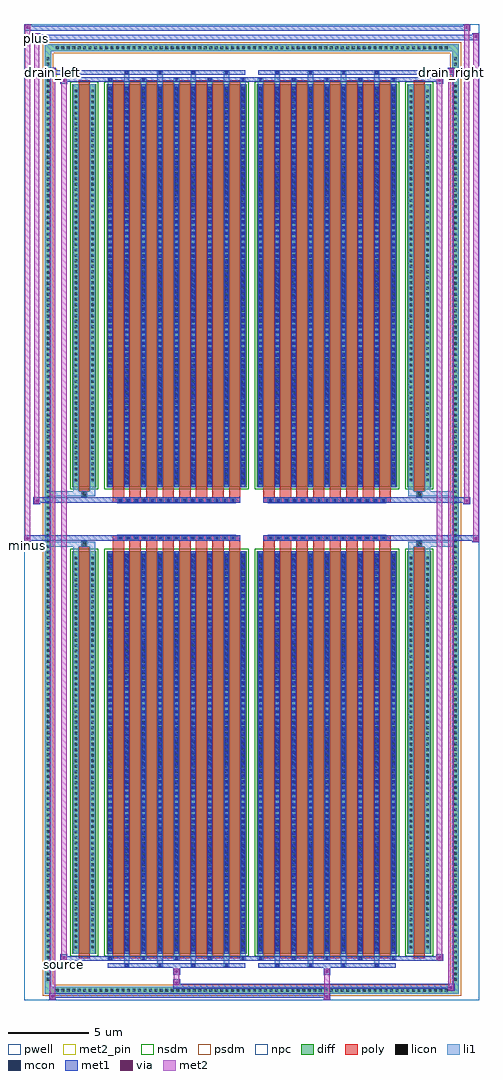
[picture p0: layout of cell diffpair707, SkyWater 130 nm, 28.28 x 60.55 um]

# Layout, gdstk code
import gdstk
lib = gdstk.Library(unit=1e-6, precision=5e-09)
def R(c, l, rs):  # rectangles x0, y0, x1, y1
    for r in rs: c.add(gdstk.rectangle(r[:2], r[2:], *l))
def A(c, l, x, y, w, h, nx, ny, dx, dy):  # array of equal rectangles
    R(c, l, [(x+i*dx, y+j*dy, x+i*dx+w, y+j*dy+h) for i in range(nx) for j in range(ny)])
def P(c, l, *ps):  # polygons
    for p in ps: c.add(gdstk.Polygon(p, *l))
pwell = (64, 44)
diff = (65, 20)
poly = (66, 20)
licon = (66, 44)
li1 = (67, 20)
mcon = (67, 44)
met1 = (68, 20)
via = (68, 44)
met2_pin = (69, 16)
met2 = (69, 20)
nsdm = (93, 44)
psdm = (94, 20)
npc = (95, 20)

diffpair707 = lib.new_cell('diffpair707')
R(diffpair707, pwell, [(-14.12,-29.84,14.12,30.71), (-11.44,-28.03,-0.01,-0.805), (0.01,-28.03,11.44,-0.805), (-11.44,0.805,-0.01,28.03), (0.01,0.805,11.44,28.03)])
A(diffpair707, diff, -12.275, -29.44, 0.41, 0.41, 72, 2, 0.34, 58.47)
A(diffpair707, diff, -12.85, -28.765, 0.41, 0.41, 1, 169, 0, 0.34)
A(diffpair707, diff, 12.44, -28.765, 0.41, 0.41, 1, 169, 0, 0.34)
R(diffpair707, diff, [(-12.275,-29.44,12.275,-29.03), (-12.85,-28.765,-12.44,28.765), (12.44,-28.765,12.85,28.765), (-11.13,-26.985,-9.65,-1.985), (-9.01,-26.985,-0.32,-1.985), (0.32,-26.985,9.01,-1.985), (9.65,-26.985,11.13,-1.985), (-11.13,1.985,-9.65,26.985), (-9.01,1.985,-0.32,26.985), (0.32,1.985,9.01,26.985), (9.65,1.985,11.13,26.985), (-12.275,29.03,12.275,29.44)])
P(diffpair707, diff, [(12.85,29.44),(-12.85,29.44),(-12.85,-29.03),(-12.44,-29.03),(-12.44,29.03),(12.44,29.03),(12.44,-29.03),(-12.44,-29.03),(-12.85,-29.03),(-12.85,-29.44),(12.85,-29.44)])
A(diffpair707, poly, -8.62, -27.235, 0.7, 25.5, 8, 2, 1.03, 28.97)
A(diffpair707, poly, 0.71, -27.235, 0.7, 25.5, 8, 2, 1.03, 28.97)
A(diffpair707, poly, -8.62, -1.735, 0.7, 0.4, 8, 2, 1.03, 3.07)
A(diffpair707, poly, 0.71, -1.735, 0.7, 0.4, 8, 2, 1.03, 3.07)
A(diffpair707, poly, -8.33, -1.335, 0.33, 0.33, 15, 2, 0.5, 2.34)
A(diffpair707, poly, 1, -1.335, 0.33, 0.33, 15, 2, 0.5, 2.34)
R(diffpair707, poly, [(-10.74,-27.235,-10.04,-1.735), (10.04,-27.235,10.74,-1.735), (-10.555,-1.735,-10.225,-1.405), (-10.555,-1.735,-10.225,-1.405), (10.225,-1.735,10.555,-1.405), (10.225,-1.735,10.555,-1.405), (-8.62,-1.335,-0.71,-1.005), (0.71,-1.335,8.62,-1.005), (-8.62,1.005,-0.71,1.335), (0.71,1.005,8.62,1.335), (-10.555,1.405,-10.225,1.735), (-10.555,1.405,-10.225,1.735), (10.225,1.405,10.555,1.735), (10.225,1.405,10.555,1.735), (-10.74,1.735,-10.04,27.235), (10.04,1.735,10.74,27.235)])
A(diffpair707, licon, -12.155, -29.32, 0.17, 0.17, 72, 2, 0.34, 58.47)
A(diffpair707, licon, -12.73, -28.645, 0.17, 0.17, 1, 169, 0, 0.34)
A(diffpair707, licon, 12.56, -28.645, 0.17, 0.17, 1, 169, 0, 0.34)
A(diffpair707, licon, -10.99, -26.64, 0.17, 0.17, 1, 72, 0, 0.34)
A(diffpair707, licon, -9.96, -26.64, 0.17, 0.17, 1, 72, 0, 0.34)
A(diffpair707, licon, -8.87, -26.64, 0.17, 0.17, 9, 72, 1.03, 0.34)
A(diffpair707, licon, 0.46, -26.64, 0.17, 0.17, 9, 72, 1.03, 0.34)
A(diffpair707, licon, 9.79, -26.64, 0.17, 0.17, 1, 72, 0, 0.34)
A(diffpair707, licon, 10.82, -26.64, 0.17, 0.17, 1, 72, 0, 0.34)
A(diffpair707, licon, -8.25, -1.255, 0.17, 0.17, 15, 2, 0.5, 2.34)
A(diffpair707, licon, 1.08, -1.255, 0.17, 0.17, 15, 2, 0.5, 2.34)
A(diffpair707, licon, -10.99, 2.33, 0.17, 0.17, 1, 72, 0, 0.34)
A(diffpair707, licon, -9.96, 2.33, 0.17, 0.17, 1, 72, 0, 0.34)
A(diffpair707, licon, -8.87, 2.33, 0.17, 0.17, 9, 72, 1.03, 0.34)
A(diffpair707, licon, 0.46, 2.33, 0.17, 0.17, 9, 72, 1.03, 0.34)
A(diffpair707, licon, 9.79, 2.33, 0.17, 0.17, 1, 72, 0, 0.34)
A(diffpair707, licon, 10.82, 2.33, 0.17, 0.17, 1, 72, 0, 0.34)
R(diffpair707, licon, [(-10.475,-1.655,-10.305,-1.485), (10.305,-1.655,10.475,-1.485), (-10.475,1.485,-10.305,1.655), (10.305,1.485,10.475,1.655)])
A(diffpair707, li1, -12.235, -29.4, 0.33, 0.33, 72, 2, 0.34, 58.47)
A(diffpair707, li1, -12.81, -28.725, 0.33, 0.33, 1, 169, 0, 0.34)
A(diffpair707, li1, 12.48, -28.725, 0.33, 0.33, 1, 169, 0, 0.34)
A(diffpair707, li1, -7.92, -27.79, 0.33, 0.805, 4, 2, 2.06, 54.775)
A(diffpair707, li1, -7.84, -27.79, 0.17, 0.17, 4, 2, 2.06, 55.41)
A(diffpair707, li1, 1.41, -27.79, 0.33, 0.805, 4, 2, 2.06, 54.775)
A(diffpair707, li1, 1.49, -27.79, 0.17, 0.17, 4, 2, 2.06, 55.41)
A(diffpair707, li1, -8.95, -27.36, 0.33, 0.375, 5, 2, 2.06, 54.345)
A(diffpair707, li1, -8.87, -27.36, 0.17, 0.17, 5, 2, 2.06, 54.55)
A(diffpair707, li1, 0.38, -27.36, 0.33, 0.375, 5, 2, 2.06, 54.345)
A(diffpair707, li1, 0.46, -27.36, 0.17, 0.17, 5, 2, 2.06, 54.55)
A(diffpair707, li1, -8.95, -26.985, 0.33, 25, 9, 2, 1.03, 28.97)
A(diffpair707, li1, 0.38, -26.985, 0.33, 25, 9, 2, 1.03, 28.97)
A(diffpair707, li1, -8.87, -26.81, 0.17, 0.17, 9, 69, 1.03, 0.36)
A(diffpair707, li1, -8.87, -26.81, 0.17, 24.65, 9, 2, 1.03, 28.97)
A(diffpair707, li1, 0.46, -26.81, 0.17, 0.17, 9, 69, 1.03, 0.36)
A(diffpair707, li1, 0.46, -26.81, 0.17, 24.65, 9, 2, 1.03, 28.97)
A(diffpair707, li1, -11.07, -26.72, 0.33, 0.33, 1, 72, 0, 0.34)
A(diffpair707, li1, -10.04, -26.72, 0.33, 0.33, 1, 72, 0, 0.34)
A(diffpair707, li1, -8.95, -26.72, 0.33, 0.33, 9, 72, 1.03, 0.34)
A(diffpair707, li1, 0.38, -26.72, 0.33, 0.33, 9, 72, 1.03, 0.34)
A(diffpair707, li1, 9.71, -26.72, 0.33, 0.33, 1, 72, 0, 0.34)
A(diffpair707, li1, 10.74, -26.72, 0.33, 0.33, 1, 72, 0, 0.34)
A(diffpair707, li1, -8.33, -1.335, 0.33, 0.33, 15, 2, 0.5, 2.34)
A(diffpair707, li1, 1, -1.335, 0.33, 0.33, 15, 2, 0.5, 2.34)
A(diffpair707, li1, -8.87, 2.16, 0.17, 0.17, 9, 69, 1.03, 0.36)
A(diffpair707, li1, 0.46, 2.16, 0.17, 0.17, 9, 69, 1.03, 0.36)
A(diffpair707, li1, -11.07, 2.25, 0.33, 0.33, 1, 72, 0, 0.34)
A(diffpair707, li1, -10.04, 2.25, 0.33, 0.33, 1, 72, 0, 0.34)
A(diffpair707, li1, -8.95, 2.25, 0.33, 0.33, 9, 72, 1.03, 0.34)
A(diffpair707, li1, 0.38, 2.25, 0.33, 0.33, 9, 72, 1.03, 0.34)
A(diffpair707, li1, 9.71, 2.25, 0.33, 0.33, 1, 72, 0, 0.34)
A(diffpair707, li1, 10.74, 2.25, 0.33, 0.33, 1, 72, 0, 0.34)
R(diffpair707, li1, [(-12.85,-29.44,-12.44,-29.03), (-12.85,-29.44,-12.44,-29.03), (-12.44,-29.44,12.44,-29.03), (12.44,-29.44,12.85,-29.03), (12.44,-29.44,12.85,-29.03), (-12.85,-29.03,-12.44,29.03), (12.44,-29.03,12.85,29.03), (-11.07,-26.985,-10.74,-1.985), (-10.04,-26.985,-9.71,-1.985), (9.71,-26.985,10.04,-1.985), (10.74,-26.985,11.07,-1.985), (-11.07,-1.985,-10.74,-1.405), (-10.04,-1.985,-9.71,-1.405), (9.71,-1.985,10.04,-1.405), (10.74,-1.985,11.07,-1.405), (-12.85,-1.735,-10.555,-1.405), (-11.07,-1.735,-10.555,-1.405), (-10.555,-1.735,-10.225,-1.405), (-10.225,-1.735,-9.71,-1.405), (9.71,-1.735,10.225,-1.405), (10.225,-1.735,10.555,-1.405), (10.225,-1.735,12.85,-1.405), (10.555,-1.735,11.07,-1.405), (-12.85,1.405,-10.555,1.735), (-11.07,1.405,-10.555,1.735), (-11.07,1.405,-10.74,1.985), (-10.555,1.405,-10.225,1.735), (-10.225,1.405,-9.71,1.735), (-10.04,1.405,-9.71,1.985), (9.71,1.405,10.225,1.735), (9.71,1.405,10.04,1.985), (10.225,1.405,10.555,1.735), (10.225,1.405,12.85,1.735), (10.555,1.405,11.07,1.735), (10.74,1.405,11.07,1.985), (-11.07,1.985,-10.74,26.985), (-10.04,1.985,-9.71,26.985), (9.71,1.985,10.04,26.985), (10.74,1.985,11.07,26.985), (-12.85,29.03,-12.44,29.44), (-12.85,29.03,-12.44,29.44), (-12.44,29.03,12.44,29.44), (12.44,29.03,12.85,29.44), (12.44,29.03,12.85,29.44)])
A(diffpair707, mcon, -7.84, -27.79, 0.17, 0.17, 4, 2, 2.06, 55.41)
A(diffpair707, mcon, 1.49, -27.79, 0.17, 0.17, 4, 2, 2.06, 55.41)
A(diffpair707, mcon, -8.87, -27.36, 0.17, 0.17, 5, 2, 2.06, 54.55)
A(diffpair707, mcon, 0.46, -27.36, 0.17, 0.17, 5, 2, 2.06, 54.55)
A(diffpair707, mcon, -8.87, -26.81, 0.17, 0.17, 9, 69, 1.03, 0.36)
A(diffpair707, mcon, 0.46, -26.81, 0.17, 0.17, 9, 69, 1.03, 0.36)
A(diffpair707, mcon, -8.25, -1.255, 0.17, 0.17, 15, 2, 0.5, 2.34)
A(diffpair707, mcon, 1.08, -1.255, 0.17, 0.17, 15, 2, 0.5, 2.34)
A(diffpair707, mcon, -8.87, 2.16, 0.17, 0.17, 9, 69, 1.03, 0.36)
A(diffpair707, mcon, 0.46, 2.16, 0.17, 0.17, 9, 69, 1.03, 0.36)
A(diffpair707, met1, -7.9, -27.85, 0.29, 0.29, 4, 2, 2.06, 55.41)
A(diffpair707, met1, 1.43, -27.85, 0.29, 0.29, 4, 2, 2.06, 55.41)
A(diffpair707, met1, -8.93, -27.42, 0.29, 0.29, 5, 2, 2.06, 54.55)
A(diffpair707, met1, 0.4, -27.42, 0.29, 0.29, 5, 2, 2.06, 54.55)
A(diffpair707, met1, -8.93, -26.985, 0.29, 25, 9, 2, 1.03, 28.97)
A(diffpair707, met1, 0.4, -26.985, 0.29, 25, 9, 2, 1.03, 28.97)
A(diffpair707, met1, -8.93, -26.87, 0.29, 0.29, 9, 69, 1.03, 0.36)
A(diffpair707, met1, 0.4, -26.87, 0.29, 0.29, 9, 69, 1.03, 0.36)
A(diffpair707, met1, -8.31, -1.315, 0.29, 0.29, 15, 2, 0.5, 2.34)
A(diffpair707, met1, 1.02, -1.315, 0.29, 0.29, 15, 2, 0.5, 2.34)
A(diffpair707, met1, -8.93, 2.1, 0.29, 0.29, 9, 69, 1.03, 0.36)
A(diffpair707, met1, 0.4, 2.1, 0.29, 0.29, 9, 69, 1.03, 0.36)
R(diffpair707, met1, [(-12.58,-29.84,-12.15,-29.41), (4.45,-29.84,4.88,-29.41), (-12.58,-29.7,4.88,-29.41), (12.15,-29.27,12.58,-28.84), (-4.88,-29.13,12.58,-28.84), (-4.88,-28.99,-4.45,-28.56), (-4.88,-28.28,-4.45,-27.85), (4.45,-28.28,4.88,-27.85), (-8.93,-27.85,-0.4,-27.56), (0.4,-27.85,8.93,-27.56), (-11.87,-27.42,-11.44,-26.99), (-11.87,-27.42,-8.93,-27.13), (-8.93,-27.42,-0.4,-27.13), (-0.4,-27.42,0.4,-27.13), (0.4,-27.42,8.93,-27.13), (8.93,-27.42,11.87,-27.13), (11.44,-27.42,11.87,-26.99), (-14.12,-1.435,-13.69,-1.005), (13.69,-1.435,14.12,-1.005), (-14.12,-1.335,-0.71,-1.005), (-8.62,-1.335,-0.71,-1.005), (0.71,-1.335,8.62,-1.005), (0.71,-1.335,14.12,-1.005), (-13.55,0.905,-13.12,1.335), (13.12,0.905,13.55,1.335), (-13.55,1.005,-8.62,1.335), (-8.62,1.005,-0.71,1.335), (0.71,1.005,8.62,1.335), (8.62,1.005,13.55,1.335), (-11.87,26.99,-11.44,27.42), (11.44,26.99,11.87,27.42), (-11.87,27.13,-8.93,27.42), (-8.93,27.13,-0.4,27.42), (-0.4,27.13,0.4,27.42), (0.4,27.13,8.93,27.42), (8.93,27.13,11.87,27.42), (-12.58,27.56,-12.15,27.99), (-12.58,27.56,-8.93,27.85), (-8.93,27.56,-0.4,27.85), (0.4,27.56,8.93,27.85), (8.93,27.56,12.58,27.85), (12.15,27.56,12.58,27.99), (-13.55,29.71,-13.12,30.14), (-13.55,29.71,-11.44,30.04), (-11.44,29.71,11.44,30.04), (11.44,29.71,14.12,30.04), (13.69,29.71,14.12,30.14), (-14.12,30.28,-13.69,30.71), (-14.12,30.28,-11.44,30.61), (-11.44,30.28,11.44,30.61), (11.44,30.28,13.55,30.61), (13.12,30.28,13.55,30.71)])
R(diffpair707, via, [(-12.44,-29.7,-12.29,-29.55), (4.59,-29.7,4.74,-29.55), (12.29,-29.13,12.44,-28.98), (-4.74,-28.85,-4.59,-28.7), (-4.74,-28.14,-4.59,-27.99), (4.59,-28.14,4.74,-27.99), (-11.73,-27.28,-11.58,-27.13), (11.58,-27.28,11.73,-27.13), (-13.98,-1.295,-13.83,-1.145), (13.83,-1.295,13.98,-1.145), (-13.41,1.045,-13.26,1.195), (13.26,1.045,13.41,1.195), (-11.73,27.13,-11.58,27.28), (11.58,27.13,11.73,27.28), (-12.44,27.7,-12.29,27.85), (12.29,27.7,12.44,27.85), (-13.41,29.85,-13.26,30), (13.83,29.85,13.98,30), (-13.98,30.42,-13.83,30.57), (13.26,30.42,13.41,30.57)])
R(diffpair707, met2_pin, [(-11.905,-27.87,-11.405,-27.37), (-14.155,-1.885,-13.655,-1.385), (-12.615,27.44,-12.115,27.94), (12.115,27.44,12.615,27.94), (-13.585,29.59,-13.085,30.09)])
R(diffpair707, met2, [(-12.53,-29.79,-12.2,-29.46), (-12.53,-29.79,-12.2,27.94), (4.5,-29.79,4.83,-29.46), (4.5,-29.46,4.83,-28.23), (12.2,-29.22,12.53,-28.89), (12.2,-29.22,12.53,27.94), (-4.83,-28.94,-4.5,-28.61), (-4.83,-28.61,-4.5,-28.23), (-4.83,-28.23,-4.5,-27.9), (4.5,-28.23,4.83,-27.9), (-11.82,-27.37,-11.49,-27.04), (-11.82,-27.37,-11.49,27.37), (11.49,-27.37,11.82,-27.04), (11.49,-27.37,11.82,27.37), (-14.07,-1.385,-13.74,-1.055), (-14.07,-1.385,-13.74,30.66), (13.74,-1.385,14.07,-1.055), (13.74,-1.385,14.07,30.09), (-13.5,0.955,-13.17,1.285), (-13.5,0.955,-13.17,30.09), (13.17,0.955,13.5,1.285), (13.17,0.955,13.5,30.66), (-11.82,27.04,-11.49,27.37), (11.49,27.04,11.82,27.37), (-12.53,27.61,-12.2,27.94), (12.2,27.61,12.53,27.94), (-13.5,29.76,-13.17,30.09), (13.74,29.76,14.07,30.09), (-14.07,30.33,-13.74,30.66), (13.17,30.33,13.5,30.66)])
P(diffpair707, met2, [(14.07,-1.385),(14.07,-1.385),(14.07,-1.055),(14.07,-1.055)],
  [(14.07,29.76),(14.07,29.76),(14.07,30.09),(14.07,30.09)],
  [(-13.74,-1.385),(-13.74,-1.385),(-13.74,-1.055),(-13.74,-1.055)],
  [(-13.74,30.33),(-13.74,30.33),(-13.74,30.66),(-13.74,30.66)],
  [(13.5,0.955),(13.5,0.955),(13.5,1.285),(13.5,1.285)],
  [(13.5,30.33),(13.5,30.33),(13.5,30.66),(13.5,30.66)],
  [(-13.17,0.955),(-13.17,0.955),(-13.17,1.285),(-13.17,1.285)],
  [(-13.17,29.76),(-13.17,29.76),(-13.17,30.09),(-13.17,30.09)],
  [(-12.2,-29.79),(-12.2,-29.79),(-12.2,-29.46),(-12.2,-29.46)],
  [(-12.2,27.61),(-12.2,27.61),(-12.2,27.94),(-12.2,27.94)],
  [(12.53,-29.22),(12.53,-29.22),(12.53,-28.89),(12.53,-28.89)],
  [(12.53,27.61),(12.53,27.61),(12.53,27.94),(12.53,27.94)],
  [(-11.49,-27.37),(-11.49,-27.37),(-11.49,-27.04),(-11.49,-27.04)],
  [(-11.49,27.04),(-11.49,27.04),(-11.49,27.37),(-11.49,27.37)],
  [(11.82,-27.37),(11.82,-27.37),(11.82,-27.04),(11.82,-27.04)],
  [(11.82,27.04),(11.82,27.04),(11.82,27.37),(11.82,27.37)])
R(diffpair707, nsdm, [(-11.26,-27.115,-9.52,-1.855), (-9.14,-27.115,-0.19,-1.855), (0.19,-27.115,9.14,-1.855), (9.52,-27.115,11.26,-1.855), (-11.26,1.855,-9.52,27.115), (-9.14,1.855,-0.19,27.115), (0.19,1.855,9.14,27.115), (9.52,1.855,11.26,27.115)])
P(diffpair707, psdm, [(12.98,29.57),(-12.98,29.57),(-12.98,-28.9),(-12.31,-28.9),(-12.31,28.9),(12.31,28.9),(12.31,-28.9),(-12.31,-28.9),(-12.98,-28.9),(-12.98,-29.57),(12.98,-29.57)])
A(diffpair707, npc, -8.35, -1.355, 0.37, 0.37, 15, 2, 0.5, 2.34)
A(diffpair707, npc, 0.98, -1.355, 0.37, 0.37, 15, 2, 0.5, 2.34)
R(diffpair707, npc, [(-10.575,-1.755,-10.205,-1.385), (10.205,-1.755,10.575,-1.385), (-8.35,-1.355,-7.48,-0.985), (-8.35,-1.355,-7.48,-0.985), (-7.85,-1.355,-6.98,-0.985), (-7.85,-1.355,-6.98,-0.985), (-7.35,-1.355,-6.48,-0.985), (-7.35,-1.355,-6.48,-0.985), (-6.85,-1.355,-5.98,-0.985), (-6.85,-1.355,-5.98,-0.985), (-6.35,-1.355,-5.48,-0.985), (-6.35,-1.355,-5.48,-0.985), (-5.85,-1.355,-4.98,-0.985), (-5.85,-1.355,-4.98,-0.985), (-5.35,-1.355,-4.48,-0.985), (-5.35,-1.355,-4.48,-0.985), (-4.85,-1.355,-3.98,-0.985), (-4.85,-1.355,-3.98,-0.985), (-4.35,-1.355,-3.48,-0.985), (-4.35,-1.355,-3.48,-0.985), (-3.85,-1.355,-2.98,-0.985), (-3.85,-1.355,-2.98,-0.985), (-3.35,-1.355,-2.48,-0.985), (-3.35,-1.355,-2.48,-0.985), (-2.85,-1.355,-1.98,-0.985), (-2.85,-1.355,-1.98,-0.985), (-2.35,-1.355,-1.48,-0.985), (-2.35,-1.355,-1.48,-0.985), (-1.85,-1.355,-0.98,-0.985), (-1.85,-1.355,-0.98,-0.985), (0.98,-1.355,1.85,-0.985), (0.98,-1.355,1.85,-0.985), (1.48,-1.355,2.35,-0.985), (1.48,-1.355,2.35,-0.985), (1.98,-1.355,2.85,-0.985), (1.98,-1.355,2.85,-0.985), (2.48,-1.355,3.35,-0.985), (2.48,-1.355,3.35,-0.985), (2.98,-1.355,3.85,-0.985), (2.98,-1.355,3.85,-0.985), (3.48,-1.355,4.35,-0.985), (3.48,-1.355,4.35,-0.985), (3.98,-1.355,4.85,-0.985), (3.98,-1.355,4.85,-0.985), (4.48,-1.355,5.35,-0.985), (4.48,-1.355,5.35,-0.985), (4.98,-1.355,5.85,-0.985), (4.98,-1.355,5.85,-0.985), (5.48,-1.355,6.35,-0.985), (5.48,-1.355,6.35,-0.985), (5.98,-1.355,6.85,-0.985), (5.98,-1.355,6.85,-0.985), (6.48,-1.355,7.35,-0.985), (6.48,-1.355,7.35,-0.985), (6.98,-1.355,7.85,-0.985), (6.98,-1.355,7.85,-0.985), (7.48,-1.355,8.35,-0.985), (7.48,-1.355,8.35,-0.985), (-8.35,0.985,-7.48,1.355), (-8.35,0.985,-7.48,1.355), (-7.85,0.985,-6.98,1.355), (-7.85,0.985,-6.98,1.355), (-7.35,0.985,-6.48,1.355), (-7.35,0.985,-6.48,1.355), (-6.85,0.985,-5.98,1.355), (-6.85,0.985,-5.98,1.355), (-6.35,0.985,-5.48,1.355), (-6.35,0.985,-5.48,1.355), (-5.85,0.985,-4.98,1.355), (-5.85,0.985,-4.98,1.355), (-5.35,0.985,-4.48,1.355), (-5.35,0.985,-4.48,1.355), (-4.85,0.985,-3.98,1.355), (-4.85,0.985,-3.98,1.355), (-4.35,0.985,-3.48,1.355), (-4.35,0.985,-3.48,1.355), (-3.85,0.985,-2.98,1.355), (-3.85,0.985,-2.98,1.355), (-3.35,0.985,-2.48,1.355), (-3.35,0.985,-2.48,1.355), (-2.85,0.985,-1.98,1.355), (-2.85,0.985,-1.98,1.355), (-2.35,0.985,-1.48,1.355), (-2.35,0.985,-1.48,1.355), (-1.85,0.985,-0.98,1.355), (-1.85,0.985,-0.98,1.355), (0.98,0.985,1.85,1.355), (0.98,0.985,1.85,1.355), (1.48,0.985,2.35,1.355), (1.48,0.985,2.35,1.355), (1.98,0.985,2.85,1.355), (1.98,0.985,2.85,1.355), (2.48,0.985,3.35,1.355), (2.48,0.985,3.35,1.355), (2.98,0.985,3.85,1.355), (2.98,0.985,3.85,1.355), (3.48,0.985,4.35,1.355), (3.48,0.985,4.35,1.355), (3.98,0.985,4.85,1.355), (3.98,0.985,4.85,1.355), (4.48,0.985,5.35,1.355), (4.48,0.985,5.35,1.355), (4.98,0.985,5.85,1.355), (4.98,0.985,5.85,1.355), (5.48,0.985,6.35,1.355), (5.48,0.985,6.35,1.355), (5.98,0.985,6.85,1.355), (5.98,0.985,6.85,1.355), (6.48,0.985,7.35,1.355), (6.48,0.985,7.35,1.355), (6.98,0.985,7.85,1.355), (6.98,0.985,7.85,1.355), (7.48,0.985,8.35,1.355), (7.48,0.985,8.35,1.355), (-10.575,1.385,-10.205,1.755), (10.205,1.385,10.575,1.755)])
diffpair707.add(gdstk.Label('minus', (-13.905,-1.635), layer=69, texttype=5))
diffpair707.add(gdstk.Label('drain_right', (12.365,27.69), layer=69, texttype=5))
diffpair707.add(gdstk.Label('drain_left', (-12.365,27.69), layer=69, texttype=5))
diffpair707.add(gdstk.Label('source', (-11.655,-27.62), layer=69, texttype=5))
diffpair707.add(gdstk.Label('plus', (-13.335,29.84), layer=69, texttype=5))

lib.write_gds('diffpair707.gds')
